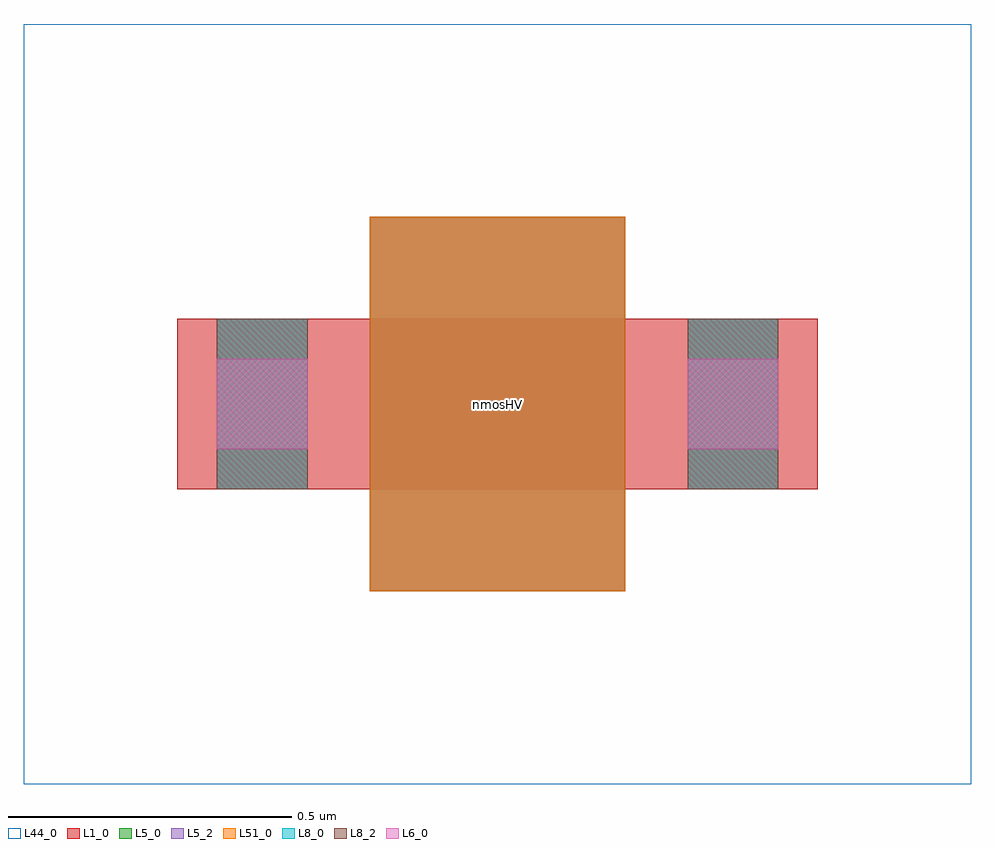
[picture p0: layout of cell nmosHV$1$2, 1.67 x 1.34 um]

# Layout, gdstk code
import gdstk
lib = gdstk.Library(unit=1e-6, precision=1e-09)
def R(c, l, rs):  # rectangles x0, y0, x1, y1
    for r in rs: c.add(gdstk.rectangle(r[:2], r[2:], *l))
L1_0 = (1, 0)
L5_0 = (5, 0)
L5_2 = (5, 2)
L6_0 = (6, 0)
L8_0 = (8, 0)
L8_2 = (8, 2)
L44_0 = (44, 0)
L51_0 = (51, 0)

nmoshv_1_2 = lib.new_cell('nmosHV$1$2')
R(nmoshv_1_2, L1_0, [(0,0,0.3,0.3), (0,0,1.13,0.3), (0.83,0,1.13,0.3)])
R(nmoshv_1_2, L5_0, [(0.34,-0.18,0.79,0.48)])
R(nmoshv_1_2, L5_2, [(0.34,-0.18,0.79,0.48)])
R(nmoshv_1_2, L6_0, [(0.07,0.07,0.23,0.23), (0.9,0.07,1.06,0.23)])
R(nmoshv_1_2, L8_0, [(0.07,0,0.23,0.3), (0.9,0,1.06,0.3)])
R(nmoshv_1_2, L8_2, [(0.07,0,0.23,0.3), (0.9,0,1.06,0.3)])
R(nmoshv_1_2, L44_0, [(-0.27,-0.52,1.4,0.82)])
R(nmoshv_1_2, L51_0, [(0.34,-0.18,0.79,0.48)])
nmoshv_1_2.add(gdstk.Label('nmosHV', (0.565,0.15), layer=63, texttype=0))
nmoshv_1_2.add(gdstk.Label('nmosHV', (0.565,0.15), layer=51, texttype=0))

lib.write_gds('nmosHV_1_2.gds')
